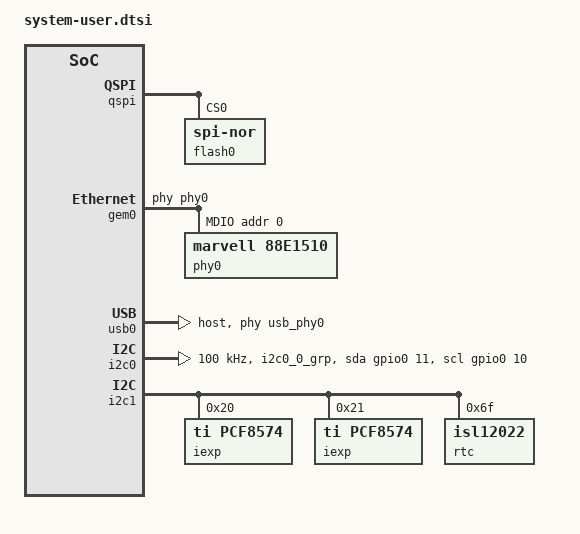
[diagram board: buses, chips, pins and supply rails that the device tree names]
/include/ "system-conf.dtsi"
/ {
};

/* bugfix */
/* Uncommend on usage with  single core  variant only */
/*
&amba {
	ptm@f889d000 {
		cpu = <&cpu0>;
	};
};
*/


/* default */
 
/* QSPI PHY */
&qspi {
    #address-cells = <1>;
    #size-cells = <0>;
    status = "okay";
    flash0: flash@0 {
        compatible = "jedec,spi-nor";
        reg = <0x0>;
        #address-cells = <1>;
        #size-cells = <1>;
    };
};
 
 
/* ETH PHY */
&gem0 {
    phy-handle = <&phy0>;
    mdio {
        #address-cells = <1>;
        #size-cells = <0>;
        phy0: phy@0 {
            compatible = "marvell,88e1510";
            device_type = "ethernet-phy";
            reg = <0>;
        };
    };
};
 
/* USB PHY */
 
/{
    usb_phy0: usb_phy@0 {
        compatible = "ulpi-phy";
        //compatible = "usb-nop-xceiv";
        #phy-cells = <0>;
        reg = <0xe0002000 0x1000>;
        view-port = <0x0170>;
        drv-vbus;
    };
};
 
&usb0 {
    dr_mode = "host";
    //dr_mode = "peripheral";
    usb-phy = <&usb_phy0>;
};
 
/* PACMAN I2C (I2C0, MIO 10-11):  bus recovery by the kernel driver, which clocks SCL as a GPIO
   (GPIO flags 6:  open drain) */
&i2c0 {
    clock-frequency = <100000>;   /* 100 kHz:  robust setting */
    pinctrl-names = "default", "gpio";
    pinctrl-0 = <&pinctrl_i2c0_default>;
    pinctrl-1 = <&pinctrl_i2c0_gpio>;
    scl-gpios = <&gpio0 10 6>;
    sda-gpios = <&gpio0 11 6>;
};

&pinctrl0 {
    pinctrl_i2c0_default: i2c0-default {
        mux {
            groups = "i2c0_0_grp";
            function = "i2c0";
        };
    };
    pinctrl_i2c0_gpio: i2c0-gpio {
        mux {
            groups = "gpio0_10_grp", "gpio0_11_grp";
            function = "gpio0";
        };
    };
};

/* I2C need I2C1 connected to te0720 system controller ip */
&i2c1 {
 
    iexp@20 {       // GPIO in CPLD
        #gpio-cells = <2>;
        compatible = "ti,pcf8574";
        reg = <0x20>;
        gpio-controller;
    };
 
    iexp@21 {       // GPIO in CPLD
        #gpio-cells = <2>;
        compatible = "ti,pcf8574";
        reg = <0x21>;
        gpio-controller;
    };
 
    rtc@6F {        // Real Time Clock
        compatible = "isl12022";
        reg = <0x6F>;
    };
};

/* DDR memory reserved for PL-DMA */
/ {
    reserved-memory {
        #address-cells = <1>;
        #size-cells = <1>;
        ranges;

        dma_reserved: buffer@0x20000000 {
            no-map;
            reg = <0x20000000 0x10000000>; // 256 MB
        };
    };

    dma_driver@0x20000000 {
        compatible = "xlnx,reserved-memory";
        memory-region = <&dma_reserved>;
    };
};
